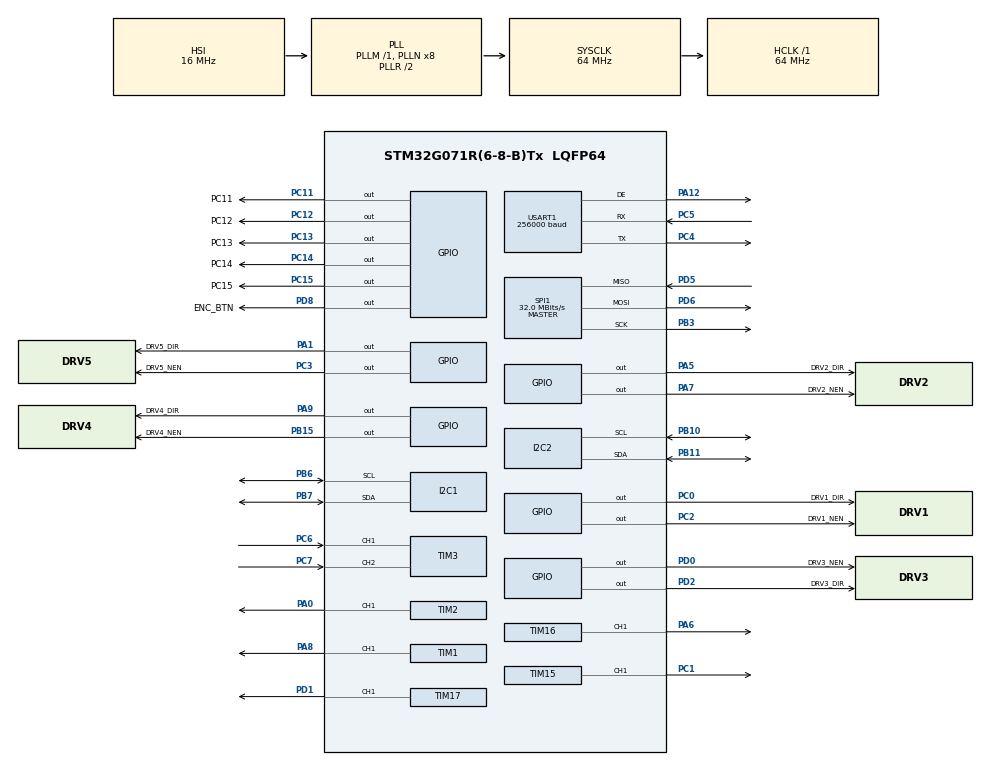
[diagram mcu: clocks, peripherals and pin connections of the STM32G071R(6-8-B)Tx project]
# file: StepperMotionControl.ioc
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CRC.CRCLength=CRC_POLYLENGTH_16B
CRC.DefaultPolynomialUse=DEFAULT_POLYNOMIAL_DISABLE
CRC.GeneratingPolynomial=X15+X2+X0
CRC.InputDataFormat=CRC_INPUTDATA_FORMAT_HALFWORDS
CRC.InputDataInversionMode=CRC_INPUTDATA_INVERSION_BYTE
CRC.OutputDataInversionMode=CRC_OUTPUTDATA_INVERSION_ENABLE
Dma.Request0=USART1_RX
Dma.Request1=USART1_TX
Dma.USART1_RX.0.Direction=DMA_PERIPH_TO_MEMORY
Dma.USART1_RX.0.EventEnable=DISABLE
Dma.USART1_RX.0.Instance=DMA1_Channel1
Dma.USART1_RX.0.MemDataAlignment=DMA_MDATAALIGN_BYTE
Dma.USART1_RX.0.MemInc=DMA_MINC_ENABLE
Dma.USART1_RX.0.Mode=DMA_NORMAL
Dma.USART1_RX.0.PeriphDataAlignment=DMA_PDATAALIGN_BYTE
Dma.USART1_RX.0.PeriphInc=DMA_PINC_DISABLE
Dma.USART1_RX.0.Polarity=HAL_DMAMUX_REQ_GEN_RISING
Dma.USART1_RX.0.Priority=DMA_PRIORITY_LOW
Dma.USART1_RX.0.RequestNumber=1
Dma.USART1_RX.0.SignalID=NONE
Dma.USART1_RX.0.SyncEnable=DISABLE
Dma.USART1_RX.0.SyncPolarity=HAL_DMAMUX_SYNC_NO_EVENT
Dma.USART1_RX.0.SyncRequestNumber=1
Dma.USART1_RX.0.SyncSignalID=NONE
Dma.USART1_TX.1.Direction=DMA_MEMORY_TO_PERIPH
Dma.USART1_TX.1.EventEnable=DISABLE
Dma.USART1_TX.1.Instance=DMA1_Channel2
Dma.USART1_TX.1.MemDataAlignment=DMA_MDATAALIGN_BYTE
Dma.USART1_TX.1.MemInc=DMA_MINC_ENABLE
Dma.USART1_TX.1.Mode=DMA_NORMAL
Dma.USART1_TX.1.PeriphDataAlignment=DMA_PDATAALIGN_BYTE
Dma.USART1_TX.1.PeriphInc=DMA_PINC_DISABLE
Dma.USART1_TX.1.Polarity=HAL_DMAMUX_REQ_GEN_RISING
Dma.USART1_TX.1.Priority=DMA_PRIORITY_LOW
Dma.USART1_TX.1.RequestNumber=1
Dma.USART1_TX.1.SignalID=NONE
Dma.USART1_TX.1.SyncEnable=DISABLE
Dma.USART1_TX.1.SyncPolarity=HAL_DMAMUX_SYNC_NO_EVENT
Dma.USART1_TX.1.SyncRequestNumber=1
Dma.USART1_TX.1.SyncSignalID=NONE
FREERTOS.Tasks01=defaultTask,0,128,StartDefaultTask,Default,NULL,Dynamic,NULL,NULL
FREERTOS.configGENERATE_RUN_TIME_STATS=1
FREERTOS.configMAX_TASK_NAME_LEN=32
FREERTOS.configRECORD_STACK_HIGH_ADDRESS=1
FREERTOS.configTOTAL_HEAP_SIZE=8192
FREERTOS.configUSE_STATS_FORMATTING_FUNCTIONS=1
I2C1.Timing=0x10B17DB5
I2C2.Timing=0x10B17DB5
Mcu.Family=STM32G0
Mcu.Name=STM32G071R(6-8-B)Tx
Mcu.Package=LQFP64
NVIC.DMA1_Channel1_IRQn=true\:3\:0\:false\:false\:true\:true\:false\:true\:true
NVIC.DMA1_Channel2_3_IRQn=true\:3\:0\:false\:false\:true\:true\:false\:true\:true
NVIC.TIM6_DAC_LPTIM1_IRQn=true\:3\:0\:false\:false\:true\:true\:true\:true\:true
NVIC.TIM7_LPTIM2_IRQn=true\:3\:0\:false\:false\:true\:true\:true\:true\:true
NVIC.USART1_IRQn=true\:3\:0\:false\:false\:true\:true\:false\:true\:true
PA0.Signal=S_TIM2_CH1_ETR
PA1.GPIO_Label=DRV5_DIR
PA1.GPIO_Speed=GPIO_SPEED_FREQ_LOW
PA1.Signal=GPIO_Output
PA12\ [PA10].Mode=Hardware Flow Control (RS485)
PA12\ [PA10].Signal=USART1_DE
PA13.Mode=Serial_Wire
PA13.Signal=SYS_SWDIO
PA14-BOOT0.Mode=Serial_Wire
PA14-BOOT0.Signal=SYS_SWCLK
PA2.Signal=USART2_TX
PA3.Signal=USART2_RX
PA5.GPIO_Label=DRV2_DIR
PA5.GPIO_Speed=GPIO_SPEED_FREQ_LOW
PA5.Signal=GPIO_Output
PA6.GPIO_Speed=GPIO_SPEED_FREQ_VERY_HIGH
PA6.Signal=S_TIM16_CH1
PA7.GPIO_Label=DRV2_NEN
PA7.GPIO_Speed=GPIO_SPEED_FREQ_LOW
PA7.Signal=GPIO_Output
PA8.Signal=S_TIM1_CH1
PA9.GPIO_Label=DRV4_DIR
PA9.GPIO_Speed=GPIO_SPEED_FREQ_LOW
PA9.Signal=GPIO_Output
PB0.Signal=USART3_RX
PB10.Mode=I2C
PB10.Signal=I2C2_SCL
PB11.Mode=I2C
PB11.Signal=I2C2_SDA
PB15.GPIO_Label=DRV4_NEN
PB15.GPIO_Speed=GPIO_SPEED_FREQ_LOW
PB15.Signal=GPIO_Output
PB3.Mode=Full_Duplex_Master
PB3.Signal=SPI1_SCK
PB6.Mode=I2C
PB6.Signal=I2C1_SCL
PB7.Mode=I2C
PB7.Signal=I2C1_SDA
PC0.GPIO_Label=DRV1_DIR
PC0.GPIO_Speed=GPIO_SPEED_FREQ_LOW
PC0.Signal=GPIO_Output
PC1.GPIO_PuPd=GPIO_PULLDOWN
PC1.GPIO_Speed=GPIO_SPEED_FREQ_VERY_HIGH
PC1.Signal=S_TIM15_CH1
PC11.GPIO_Label=PC11
PC11.GPIO_Speed=GPIO_SPEED_FREQ_VERY_HIGH
PC11.Signal=GPIO_Output
PC12.GPIO_Label=PC12
PC12.GPIO_Speed=GPIO_SPEED_FREQ_LOW
PC12.Signal=GPIO_Output
PC13.GPIO_Label=PC13
PC13.GPIO_Speed=GPIO_SPEED_FREQ_LOW
PC13.Signal=GPIO_Output
PC14-OSC32_IN\ (PC14).GPIO_Label=PC14
PC14-OSC32_IN\ (PC14).GPIO_Speed=GPIO_SPEED_FREQ_LOW
PC14-OSC32_IN\ (PC14).Signal=GPIO_Output
PC15-OSC32_OUT\ (PC15).GPIO_Label=PC15
PC15-OSC32_OUT\ (PC15).GPIO_Speed=GPIO_SPEED_FREQ_LOW
PC15-OSC32_OUT\ (PC15).Signal=GPIO_Output
PC2.GPIO_Label=DRV1_NEN
PC2.GPIO_Speed=GPIO_SPEED_FREQ_LOW
PC2.Signal=GPIO_Output
PC3.GPIO_Label=DRV5_NEN
PC3.GPIO_Speed=GPIO_SPEED_FREQ_LOW
PC3.Signal=GPIO_Output
PC4.Mode=Asynchronous
PC4.Signal=USART1_TX
PC5.Mode=Asynchronous
PC5.Signal=USART1_RX
PC6.Signal=S_TIM3_CH1
PC7.Signal=S_TIM3_CH2
PD0.GPIO_Label=DRV3_NEN
PD0.GPIO_Speed=GPIO_SPEED_FREQ_LOW
PD0.Signal=GPIO_Output
PD1.GPIO_Speed=GPIO_SPEED_FREQ_VERY_HIGH
PD1.Signal=S_TIM17_CH1
PD2.GPIO_Label=DRV3_DIR
PD2.GPIO_Speed=GPIO_SPEED_FREQ_LOW
PD2.Signal=GPIO_Output
PD5.Mode=Full_Duplex_Master
PD5.Signal=SPI1_MISO
PD6.Mode=Full_Duplex_Master
PD6.Signal=SPI1_MOSI
PD8.GPIO_Label=ENC_BTN
PD8.GPIO_Speed=GPIO_SPEED_FREQ_LOW
PD8.Signal=GPIO_Output
PF0-OSC_IN\ (PF0).Mode=HSE-External-Oscillator
PF0-OSC_IN\ (PF0).Signal=RCC_OSC_IN
PF1-OSC_OUT\ (PF1).Mode=HSE-External-Oscillator
PF1-OSC_OUT\ (PF1).Signal=RCC_OSC_OUT
ProjectManager.HeapSize=0x1000
ProjectManager.StackSize=0x400
ProjectManager.TargetToolchain=Makefile
RCC.ADCFreq_Value=64000000
RCC.AHBFreq_Value=64000000
RCC.CodegenConfigPeriph=false
RCC.CortexFreq_Value=64000000
RCC.DATA_CACHE_ENABLE=0
RCC.EXTERNAL_CLOCK_VALUE=48000
RCC.HCLKFreq_Value=64000000
RCC.HSE_VALUE=8000000
RCC.HSI_VALUE=16000000
RCC.INSTRUCTION_CACHE_ENABLE=0
RCC.LSE_VALUE=32768
RCC.PLLP=RCC_PLLP_DIV4
RCC.PLLQ=RCC_PLLQ_DIV4
RCC.PREFETCH_ENABLE=0
RCC.SYSCLKFreq_VALUE=64000000
RCC.SYSCLKSource=RCC_SYSCLKSOURCE_PLLCLK
RCC.VCOOutputFreq_Value=128000000
SH.S_TIM15_CH1.0=TIM15_CH1,PWM Generation1 CH1
SH.S_TIM16_CH1.0=TIM16_CH1,PWM Generation1 CH1
SH.S_TIM17_CH1.0=TIM17_CH1,PWM Generation1 CH1
SH.S_TIM1_CH1.0=TIM1_CH1,Output Compare1 CH1
SH.S_TIM2_CH1_ETR.0=TIM2_CH1,Output Compare1 CH1
SH.S_TIM3_CH1.0=TIM3_CH1,Encoder_Interface
SH.S_TIM3_CH2.0=TIM3_CH2,Encoder_Interface
SPI1.CalculateBaudRate=32.0 MBits/s
SPI1.Direction=SPI_DIRECTION_2LINES
SPI1.Mode=SPI_MODE_MASTER
SPI1.VirtualType=VM_MASTER
TIM1.Channel-Output\ Compare1\ CH1=TIM_CHANNEL_1
TIM15.AutoReloadPreload=TIM_AUTORELOAD_PRELOAD_ENABLE
TIM15.Channel-PWM\ Generation1\ CH1=TIM_CHANNEL_1
TIM15.OCMode_PWM-PWM\ Generation1\ CH1=TIM_OCMODE_PWM2
TIM15.Period=1
TIM15.Prescaler=63999
TIM15.Pulse-PWM\ Generation1\ CH1=1
TIM15.TIM_MasterOutputTrigger=TIM_TRGO_RESET
TIM16.AutoReloadPreload=TIM_AUTORELOAD_PRELOAD_ENABLE
TIM16.Channel=TIM_CHANNEL_1
TIM16.OCMode_PWM=TIM_OCMODE_PWM2
TIM16.Period=1
TIM16.Prescaler=63999
TIM16.Pulse=1
TIM17.AutoReloadPreload=TIM_AUTORELOAD_PRELOAD_ENABLE
TIM17.Channel=TIM_CHANNEL_1
TIM17.OCMode_PWM=TIM_OCMODE_PWM2
TIM17.Period=1
TIM17.Prescaler=63999
TIM17.Pulse=1
TIM2.Channel-Output\ Compare1\ CH1=TIM_CHANNEL_1
TIM6.AutoReloadPreload=TIM_AUTORELOAD_PRELOAD_ENABLE
TIM6.Period=1000
TIM6.Prescaler=63
TIM6.TIM_MasterOutputTrigger=TIM_TRGO_UPDATE
TIM7.AutoReloadPreload=TIM_AUTORELOAD_PRELOAD_ENABLE
TIM7.Prescaler=15
TIM7.TIM_MasterOutputTrigger=TIM_TRGO_UPDATE
USART1.BaudRate=256000
USART1.FIFOMode=FIFOMODE_ENABLE
USART1.RXFIFOThreshold=RXFIFO_THRESHOLD_FULL
USART1.TXFIFOThreshold=TXFIFO_THRESHOLD_EMPTY
USART1.VirtualMode-Asynchronous=VM_ASYNC
USART1.VirtualMode-Hardware\ Flow\ Control\ (RS485)=VM_ASYNC
VP_CRC_VS_CRC.Mode=CRC_Activate
VP_FREERTOS_VS_CMSIS_V1.Mode=CMSIS_V1
VP_TIM15_VS_ClockSourceINT.Mode=Internal
VP_TIM15_VS_OPM.Mode=OPM_bit
VP_TIM16_VS_ClockSourceINT.Mode=Enable_Timer
VP_TIM16_VS_OPM.Mode=OPM_bit
VP_TIM17_VS_ClockSourceINT.Mode=Enable_Timer
VP_TIM17_VS_OPM.Mode=OPM_bit
VP_TIM1_VS_ClockSourceINT.Mode=Internal
VP_TIM1_VS_OPM.Mode=OPM_bit
VP_TIM6_VS_ClockSourceINT.Mode=Enable_Timer
VP_TIM7_VS_ClockSourceINT.Mode=Enable_Timer
board=custom

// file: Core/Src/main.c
/* USER CODE BEGIN Header */
/**
  ******************************************************************************
  * @file           : main.c
  * @brief          : Main program body
  ******************************************************************************
  * @attention
  *
  * Copyright (c) 2025 STMicroelectronics.
  * All rights reserved.
  *
  * This software is licensed under terms that can be found in the LICENSE file
  * in the root directory of this software component.
  * If no LICENSE file comes with this software, it is provided AS-IS.
  *
  ******************************************************************************
  */
/* USER CODE END Header */
#include "main.h"
#include "cmsis_os.h"
#include "crc.h"
#include "dma.h"
#include "i2c.h"
#include "spi.h"
#include "tim.h"
#include "usart.h"
#include "gpio.h"

/* USER CODE BEGIN Includes */
#include "FreeRTOS.h"
#include "semphr.h"
#include <stdio.h>

/* USER CODE END Includes */

void SystemClock_Config(void);
void MX_FREERTOS_Init(void);
/* USER CODE BEGIN PFP */

/*
static SemaphoreHandle_t ITM_mutex;
int _write(int file, char *ptr, int len)
{
  if(ITM_mutex == NULL)
    ITM_mutex = xSemaphoreCreateMutex();

    if (xSemaphoreTake(ITM_mutex, portMAX_DELAY) == pdTRUE)
    {
        for (int i = 0; i < len; i++){
            // Ждём пока USART готов к отправке
            while(!LL_USART_IsActiveFlag_TXE(USART1));
            LL_USART_TransmitData8(USART1, ptr[i]);
        }
        xSemaphoreGive(ITM_mutex);
    }
    return len;
}
*/
/* USER CODE END PFP */

int main(void)
{

  /* MCU Configuration--------------------------------------------------------*/

  /* Reset of all peripherals, Initializes the Flash interface and the Systick. */
  HAL_Init();

  /* Configure the system clock */
  SystemClock_Config();

  /* Initialize all configured peripherals */
  MX_GPIO_Init();
  MX_DMA_Init();
  MX_TIM6_Init();
  MX_TIM15_Init();
  MX_USART1_UART_Init();
  MX_TIM7_Init();
  MX_I2C1_Init();
  MX_I2C2_Init();
  MX_SPI1_Init();
  MX_TIM1_Init();
  MX_TIM2_Init();
  MX_TIM3_Init();
  MX_TIM16_Init();
  MX_TIM17_Init();
  MX_CRC_Init();

  /* Call init function for freertos objects (in cmsis_os2.c) */
  MX_FREERTOS_Init();

  /* Start scheduler */
  osKernelStart();

  /* We should never get here as control is now taken by the scheduler */

  /* Infinite loop */
  while (1)
  {

  }
}

void SystemClock_Config(void)
{
  RCC_OscInitTypeDef RCC_OscInitStruct = {0};
  RCC_ClkInitTypeDef RCC_ClkInitStruct = {0};

  /** Configure the main internal regulator output voltage
  */
  HAL_PWREx_ControlVoltageScaling(PWR_REGULATOR_VOLTAGE_SCALE1);

  /** Initializes the RCC Oscillators according to the specified parameters
  * in the RCC_OscInitTypeDef structure.
  */
  RCC_OscInitStruct.OscillatorType = RCC_OSCILLATORTYPE_HSI;
  RCC_OscInitStruct.HSIState = RCC_HSI_ON;
  RCC_OscInitStruct.HSIDiv = RCC_HSI_DIV1;
  RCC_OscInitStruct.HSICalibrationValue = RCC_HSICALIBRATION_DEFAULT;
  RCC_OscInitStruct.PLL.PLLState = RCC_PLL_ON;
  RCC_OscInitStruct.PLL.PLLSource = RCC_PLLSOURCE_HSI;
  RCC_OscInitStruct.PLL.PLLM = RCC_PLLM_DIV1;
  RCC_OscInitStruct.PLL.PLLN = 8;
  RCC_OscInitStruct.PLL.PLLP = RCC_PLLP_DIV4;
  RCC_OscInitStruct.PLL.PLLQ = RCC_PLLQ_DIV4;
  RCC_OscInitStruct.PLL.PLLR = RCC_PLLR_DIV2;
  if (HAL_RCC_OscConfig(&RCC_OscInitStruct) != HAL_OK)
  {
    Error_Handler();
  }

  /** Initializes the CPU, AHB and APB buses clocks
  */
  RCC_ClkInitStruct.ClockType = RCC_CLOCKTYPE_HCLK|RCC_CLOCKTYPE_SYSCLK
                              |RCC_CLOCKTYPE_PCLK1;
  RCC_ClkInitStruct.SYSCLKSource = RCC_SYSCLKSOURCE_PLLCLK;
  RCC_ClkInitStruct.AHBCLKDivider = RCC_SYSCLK_DIV1;
  RCC_ClkInitStruct.APB1CLKDivider = RCC_HCLK_DIV1;

  if (HAL_RCC_ClockConfig(&RCC_ClkInitStruct, FLASH_LATENCY_2) != HAL_OK)
  {
    Error_Handler();
  }
}

void Error_Handler(void)
{
  __disable_irq();
  while (1)
  {
  }
}

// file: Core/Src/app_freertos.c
/* USER CODE BEGIN Header */
/**
  ******************************************************************************
  * File Name          : app_freertos.c
  * Description        : Code for freertos applications
  ******************************************************************************
  * @attention
  *
  * Copyright (c) 2025 STMicroelectronics.
  * All rights reserved.
  *
  * This software is licensed under terms that can be found in the LICENSE file
  * in the root directory of this software component.
  * If no LICENSE file comes with this software, it is provided AS-IS.
  *
  ******************************************************************************
  */
/* USER CODE END Header */

#include "FreeRTOS.h"
#include "task.h"
#include "main.h"
#include "cmsis_os.h"

/* USER CODE BEGIN Includes */
#include "ModbusSlaveRTU.h"
#include "StepperMotorController.h"
/* USER CODE END Includes */

osThreadId defaultTaskHandle;

void StartDefaultTask(void const * argument);

void MX_FREERTOS_Init(void); /* (MISRA C 2004 rule 8.1) */

/* Hook prototypes */
void configureTimerForRunTimeStats(void);
unsigned long getRunTimeCounterValue(void);

/* USER CODE BEGIN 1 */
/* Functions needed when configGENERATE_RUN_TIME_STATS is on */
__weak void configureTimerForRunTimeStats(void)
{
    // into tim.c MX_TIM7_Init();
}
uint32_t getTim7Time();
__weak unsigned long getRunTimeCounterValue(void)
{
  return  getTim7Time();
  return 0;
}
/* USER CODE END 1 */

void MX_FREERTOS_Init(void) {

  /* Create the thread(s) */
  /* definition and creation of defaultTask */
  osThreadDef(defaultTask, StartDefaultTask, osPriorityNormal, 0, 128);
  defaultTaskHandle = osThreadCreate(osThread(defaultTask), NULL);

}

void StartDefaultTask(void const * argument)
{
  /* USER CODE BEGIN StartDefaultTask */
  reg_map_init();

  ModbusRTU_t* modbus = ModbusRTUInstance();

  ModbusRTU_Init(modbus,
          USART1,
#if USE_DMA_FOR_USART1_MODBUS == 0
          NULL, 0,
          NULL, 0,
#else
          DMA1, LL_DMA_CHANNEL_1,
          DMA1, LL_DMA_CHANNEL_2,
#endif
          MODBUS_SLAVE_ADRESS);

  StepperMotorController* controller = getStepperMotorController();

  StepperMotor* motor0;
  motor0 = StepperMotor_create();
  motor0->init(motor0, TIM15,
    DRV1_DIR_GPIO_Port, DRV1_DIR_Pin,
    DRV1_NEN_GPIO_Port, DRV1_NEN_Pin);
  controller->addMotor(controller, motor0);

  //debug
  //motor1->setEnable(motor1, true);
  motor0->parameters.max_velocity = 64000;
  // motor->parameters.remaining_steps = 1000000000;
  motor0->parameters.max_acceleration = 16*1000;
  //debug

  StepperMotor* motor1;
  motor1 = StepperMotor_create();
  motor1->init(motor1, TIM16,
    DRV2_DIR_GPIO_Port, DRV2_DIR_Pin,
    DRV2_NEN_GPIO_Port, DRV2_NEN_Pin);
  controller->addMotor(controller, motor1);

  //debug
  // motor->setEnable(motor, true);
  // motor->parameters.max_velocity = 16000;
  // motor->parameters.remaining_steps = 1000000000;
  // motor->parameters.max_acceleration = 32000;
  //debug
  StepperMotor* motor2;
  motor2 = StepperMotor_create();
  motor2->init(motor2, TIM17,
    DRV3_DIR_GPIO_Port, DRV3_DIR_Pin,
    DRV3_NEN_GPIO_Port, DRV3_NEN_Pin);
  controller->addMotor(controller, motor2);

  controller->init(controller, TIM6);
  controller->startTimer(controller);

  osThreadTerminate(osThreadGetId());
  /* Infinite loop */
  //int8_t dir = 1;
  motor0->setEnable(motor0, true);
  for(;;)
  {
    //printf("Default Task is running.\n");
   // osDelay(2);

   int min = -16000;
   int max = 16000;

    StepperMotorParameters* p = &motor0->parameters;
    // wait the end of movement
    portENTER_CRITICAL();

    motor0->apply_target_pos(motor0, max);

    while(p->remaining_steps != 0  || p->current_velocity != 0){
      portEXIT_CRITICAL(); osDelay(1); portENTER_CRITICAL();
    }
    portEXIT_CRITICAL();osDelay(500);portENTER_CRITICAL();

    motor0->apply_target_pos(motor0, (max+min)/2);

    while(p->remaining_steps != 0 || p->current_velocity != 0){
      portEXIT_CRITICAL(); osDelay(1); portENTER_CRITICAL();
    }
    portEXIT_CRITICAL();osDelay(500);portENTER_CRITICAL();

    motor0->apply_target_pos(motor0, -min);

    while(p->remaining_steps != 0 || p->current_velocity != 0){
      portEXIT_CRITICAL(); osDelay(1); portENTER_CRITICAL();
    }
    portEXIT_CRITICAL();osDelay(500);portENTER_CRITICAL();

    motor0->apply_target_pos(motor0, (max+min)/2);

    while(p->remaining_steps != 0 || p->current_velocity != 0){
      portEXIT_CRITICAL(); osDelay(1); portENTER_CRITICAL();
    }
    portEXIT_CRITICAL();osDelay(500);portENTER_CRITICAL();

    portEXIT_CRITICAL();

/*
    portENTER_CRITICAL();
    if(motor1->parameters.remaining_steps == 0 && motor1->parameters.current_velocity == 0){
      //motor1.d_set = -motor1.d_set;
      // portEXIT_CRITICAL();
      // osDelay(2000);
      // portENTER_CRITICAL();
      motor1->parameters.remaining_steps = 10000*dir;
      //motor->parameters.remaining_steps = (200*64) *1* dir;
      if(dir == 1) dir = -1; else dir = 1;
    }
    portEXIT_CRITICAL();
    */
  }
  /* USER CODE END StartDefaultTask */
}
